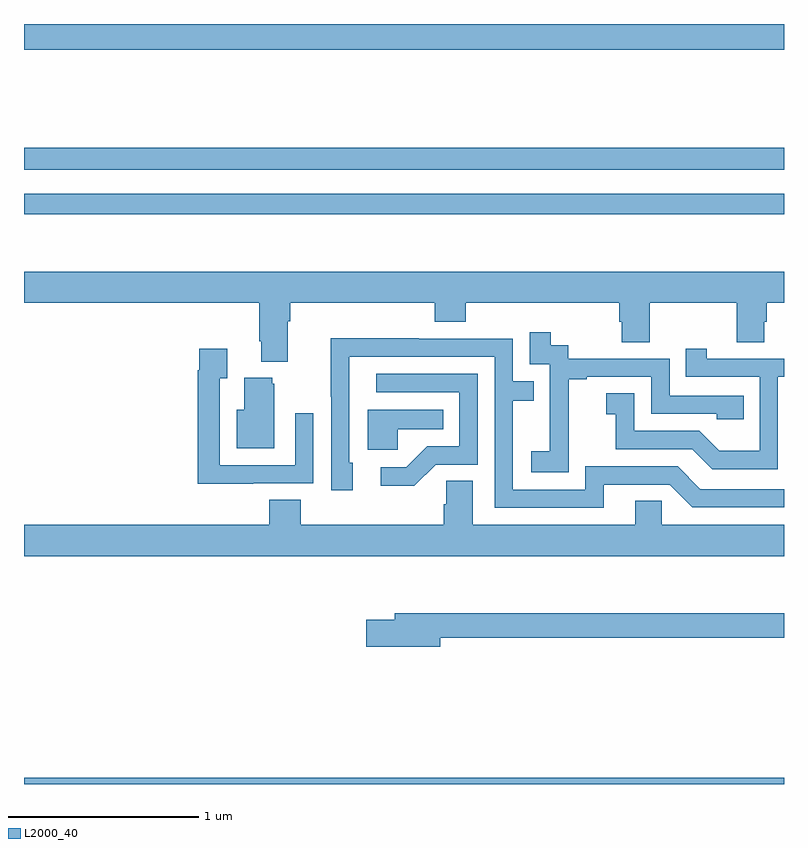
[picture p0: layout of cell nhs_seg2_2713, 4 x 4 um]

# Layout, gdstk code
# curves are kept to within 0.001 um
import gdstk
lib = gdstk.Library(unit=1e-6, precision=1e-09)
def R(c, l, rs):  # rectangles x0, y0, x1, y1
    for r in rs: c.add(gdstk.rectangle(r[:2], r[2:], *l))
def P(c, l, *ps):  # polygons
    for p in ps: c.add(gdstk.Polygon(p, *l))
L2000_40 = (2000, 40)

nhs_seg2_2713 = lib.new_cell('nhs_seg2_2713')
R(nhs_seg2_2713, L2000_40, [(253,615.8,257,615.832), (253,618.798,257,618.906), (253,619.032,257,619.148), (253,619.664,257,619.8)])
P(nhs_seg2_2713, L2000_40, [(254.389,618.236),(254.402,618.236),(254.402,618.332),(255.161,618.332),(255.161,618.233),(255.326,618.233),(255.326,618.332),(256.133,618.332),(256.133,618.234),(256.145,618.234),(256.145,618.124),(256.293,618.124),(256.293,618.332),(256.75,618.332),(256.75,618.124),(256.897,618.124),(256.897,618.234),(256.91,618.234),(256.91,618.332),(257,618.332),(257,618.496),(253,618.496),(253,618.332),(254.237,618.332),(254.237,618.13),(254.249,618.13),(254.249,618.023),(254.389,618.023)],
  [(255.867,617.647),(255.866,617.647),(255.866,617.931),(255.961,617.931),(255.961,617.943),(256.302,617.943),(256.302,617.748),(256.647,617.748),(256.647,617.721),(256.787,617.721),(256.787,617.844),(256.398,617.844),(256.398,618.039),(255.864,618.039),(255.864,618.108),(255.772,618.108),(255.772,618.178),(255.663,618.178),(255.663,618.009),(255.768,618.009),(255.768,617.78),(255.767,617.78),(255.767,617.551),(255.669,617.551),(255.669,617.441),(255.867,617.441)],
  [(256.051,617.376),(256.398,617.376),(256.518,617.256),(257,617.256),(257,617.352),(256.56,617.352),(256.44,617.472),(255.954,617.472),(255.954,617.349),(255.573,617.349),(255.573,617.818),(255.683,617.818),(255.683,617.919),(255.573,617.919),(255.573,618.144),(255.077,618.144),(255.077,618.146),(254.614,618.146),(254.614,617.839),(254.616,617.839),(254.616,617.346),(254.731,617.346),(254.731,617.49),(254.712,617.49),(254.713,618.048),(255.477,618.048),(255.477,617.253),(256.051,617.253)],
  [(254.207,617.382),(254.523,617.382),(254.523,617.752),(254.427,617.752),(254.427,617.478),(254.031,617.478),(254.031,617.935),(254.071,617.935),(254.071,618.091),(253.923,618.091),(253.923,617.978),(253.915,617.978),(253.915,617.381),(254.207,617.381)],
  [(256.968,617.943),(257,617.943),(257,618.039),(256.594,618.039),(256.594,618.091),(256.483,618.091),(256.483,617.943),(256.872,617.943),(256.872,617.554),(256.658,617.554),(256.554,617.658),(256.212,617.658),(256.212,617.857),(256.065,617.857),(256.065,617.747),(256.114,617.747),(256.114,617.562),(256.517,617.562),(256.622,617.457),(256.968,617.457)],
  [(255.168,617.481),(255.387,617.481),(255.387,617.958),(254.853,617.958),(254.853,617.862),(255.291,617.862),(255.291,617.577),(255.122,617.577),(255.011,617.466),(254.877,617.466),(254.877,617.369),(255.055,617.369)],
  [(254.317,617.907),(254.306,617.907),(254.306,617.938),(254.159,617.938),(254.159,617.77),(254.12,617.77),(254.12,617.567),(254.317,617.567)],
  [(254.967,617.666),(255.206,617.666),(255.206,617.77),(254.81,617.77),(254.81,617.558),(254.967,617.558)],
  [(257,617.164),(256.356,617.164),(256.356,617.291),(256.217,617.291),(256.217,617.164),(255.361,617.164),(255.361,617.396),(255.222,617.396),(255.222,617.273),(255.209,617.273),(255.209,617.164),(254.456,617.164),(254.456,617.297),(254.291,617.297),(254.291,617.164),(253,617.164),(253,617),(257,617)],
  [(255.19,616.57),(257,616.57),(257,616.699),(254.951,616.699),(254.951,616.665),(254.802,616.665),(254.802,616.523),(255.19,616.523)])

lib.write_gds('nhs_seg2_2713.gds')
